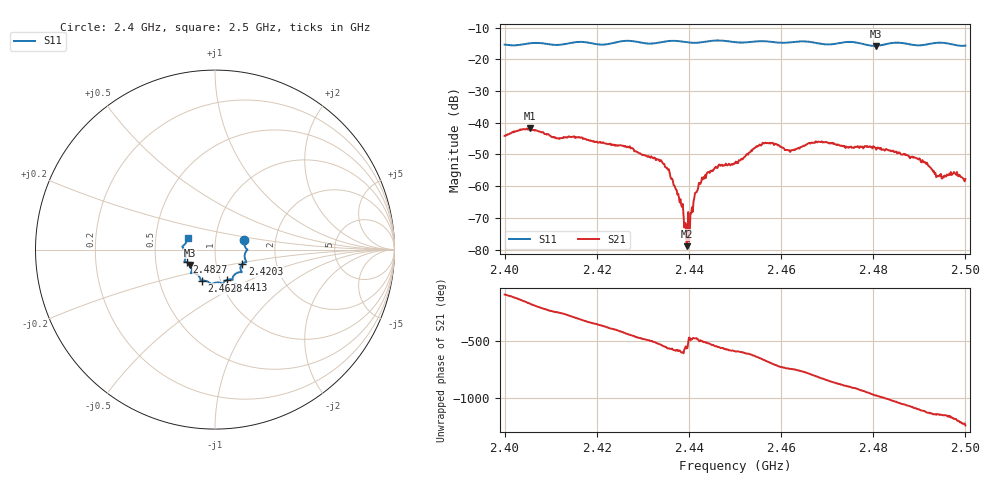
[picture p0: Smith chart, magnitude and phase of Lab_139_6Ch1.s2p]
# Hz S RI R 50
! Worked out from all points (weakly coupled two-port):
!   601 points, 2.4 GHz to 2.5 GHz, reference 50 ohm
!   highest |S21| = -41.69 dB at 2.4055 GHz (marker M1); lowest = -78.9 dB at 2.4395 GHz (marker M2)
!   lowest |S11| = -15.8 dB at 2.4805 GHz (marker M3), VSWR 1.39, Z = 37.4 - j6.62 ohm
!   |S11| at or under -10 dB: start of sweep to end of sweep
!   S12 and S22 are empty: the file has one direction only
!   S11 on the Smith chart (normalised r, x): 2.4 GHz: 1.38, +0.15; 2.4203 GHz: 1.34, -0.22; 2.4413 GHz: 1.08, -0.38; 2.4628 GHz: 0.82, -0.29; 2.4827 GHz: 0.72, -0.11; 2.5 GHz: 0.73, +0.10
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2.4e9  0.162 0.053  0.000248 -0.00622  0 0  0 0
2.4055e9  0.1786 0.00174  -0.00808 -0.00153  0 0  0 0
2.416667e9  0.1744 -0.0697  0.00377 0.00447  0 0  0 0
2.420333e9  0.152 -0.0793  0.00481 0.000479  0 0  0 0
2.433333e9  0.1 -0.1524  -0.00252 -0.000813  0 0  0 0
2.436e9  0.0982 -0.1681  -0.00125 0.000633  0 0  0 0
2.438167e9  0.0942 -0.1672  -0.000405 0.000475  0 0  0 0
2.4395e9  0.0849 -0.1654  -0.000103 4.67e-05  0 0  0 0
2.44e9  0.0804 -0.1654  -4.43e-05 -0.000128  0 0  0 0
2.441333e9  0.067 -0.1689  -0.000327 -0.000709  0 0  0 0
2.442667e9  0.0546 -0.1765  -0.000829 -0.000829  0 0  0 0
2.444333e9  0.0455 -0.1873  -0.00153 -0.000629  0 0  0 0
2.45e9  0.0246 -0.1843  -0.00154 0.00171  0 0  0 0
2.4565e9  -0.022 -0.191  0.00305 0.00378  0 0  0 0
2.462833e9  -0.0719 -0.1734  0.00336 -0.00175  0 0  0 0
2.466667e9  -0.0804 -0.1678  0.00118 -0.00474  0 0  0 0
2.4805e9  -0.1379 -0.0861  -0.000737 0.00395  0 0  0 0
2.482667e9  -0.1577 -0.0707  0.001 0.00364  0 0  0 0
2.483333e9  -0.163 -0.0685  0.00151 0.00332  0 0  0 0
2.491167e9  -0.1688 -0.0064  0.00193 -0.00147  0 0  0 0
2.493833e9  -0.1813 0.0141  0.000611 -0.00128  0 0  0 0
2.5e9  -0.1509 0.0643  -0.00125 -0.000356  0 0  0 0
